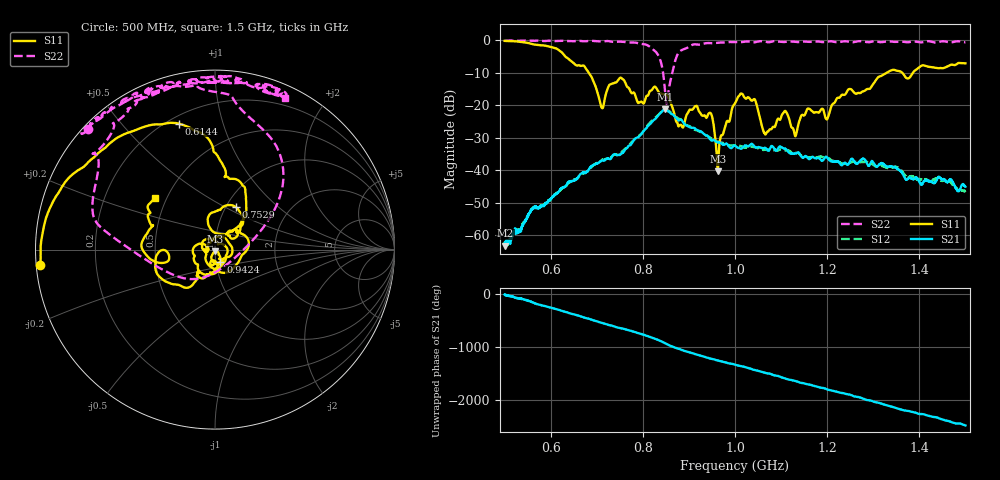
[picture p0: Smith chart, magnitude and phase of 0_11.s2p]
!Agilent Technologies,E8364B,US42250235,A.06.04.32
!Agilent E8364B: A.06.04.32
!Date: Thursday, October 01, 2020 13:24:50
!Correction: S11(Full 2 Port(1,2)) S21(Full 2 Port(1,2)) S12(Full 2 Port(1,2)) S22(Full 2 Port(1,2))
!S2P File: Measurements: S11, S21, S12, S22:
# Hz S  dB  R 50
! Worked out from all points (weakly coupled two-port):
!   2650 points, 500 MHz to 1.5 GHz, reference 50 ohm
!   highest |S21| = -21.21 dB at 848.1 MHz (marker M1); lowest = -63.2 dB at 501.9 MHz (marker M2)
!   lowest |S11| = -40.3 dB at 962.4 MHz (marker M3), VSWR 1.02, Z = 50.2 - j0.953 ohm
!   |S11| at or under -10 dB: 682.8 MHz to 1.33 GHz (647 MHz wide, 64.3 % of centre); 1.363 GHz to 1.386 GHz (23.12 MHz wide, 1.68 % of centre)
!   |S22| runs from -19.5 to -0.1 dB; largest |S21 - S12| = 0.0038
!   S11 on the Smith chart (normalised r, x): 500 MHz: 0.01, -0.04; 614.4 MHz: 0.24, +0.72; 752.9 MHz: 1.11, +0.57; 942.4 MHz: 1.05, -0.14; 1.5 GHz: 0.43, +0.31
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5e8  -0.21 -175.0  -62.56 -3.9  -62.95 -16.3  -0.19 136.5
5.018875e8  -0.22 -176.0  -63.24 -14.6  -62.77 -16.5  -0.19 136.0
6.143828e8  -2.73 106.0  -46.87 72.1  -46.76 69.1  -0.25 126.0
6.668554e8  -7.88 77.6  -40.94 -63.2  -41.31 -63.5  -0.27 122.4
7.11023e8  -20.85 71.2  -37.01 176.4  -36.82 -177.1  -0.42 113.9
7.529256e8  -11.57 63.8  -34.97 74.9  -34.56 78.8  -0.45 106.8
7.918082e8  -19.20 40.9  -29.63 -21.7  -29.36 -19.4  -1.01 93.5
8.337108e8  -15.87 -8.3  -23.08 -149.5  -22.97 -149.5  -4.72 49.1
8.480559e8  -16.75 -36.9  -21.21 150.2  -21.05 151.6  -15.50 2.7
8.593809e8  -18.88 -87.7  -22.37 103.8  -22.08 104.4  -12.81 -135.1
8.808985e8  -26.06 154.2  -24.46 36.6  -24.25 34.9  -3.35 166.9
9.424311e8  -22.62 -65.7  -29.78 -133.6  -29.58 -129.2  -0.87 129.0
9.624387e8  -40.31 -79.8  -31.37 -175.2  -31.16 -174.9  -0.79 121.9
1.000189e9  -19.36 -78.7  -32.41 101.9  -32.39 101.4  -0.57 118.0
1.042091e9  -18.11 -176.2  -32.65 1.7  -32.92 3.9  -0.65 111.1
1.066251e9  -29.01 179.0  -33.18 -53.6  -33.64 -50.5  -0.47 113.3
1.108154e9  -21.79 149.4  -33.38 -157.1  -33.91 -150.7  -0.55 102.5
1.131182e9  -29.55 61.2  -34.88 152.1  -34.71 154.7  -0.49 102.8
1.166667e9  -21.77 -81.1  -35.97 73.8  -35.96 74.8  -0.50 97.2
1.199887e9  -24.32 -94.2  -36.09 -6.5  -36.19 -4.5  -0.47 91.5
1.333522e9  -9.65 -147.6  -38.88 43.5  -39.26 50.3  -0.34 81.7
1.5e9  -7.11 139.0  -45.10 28.0  -46.28 39.3  -0.64 65.1
